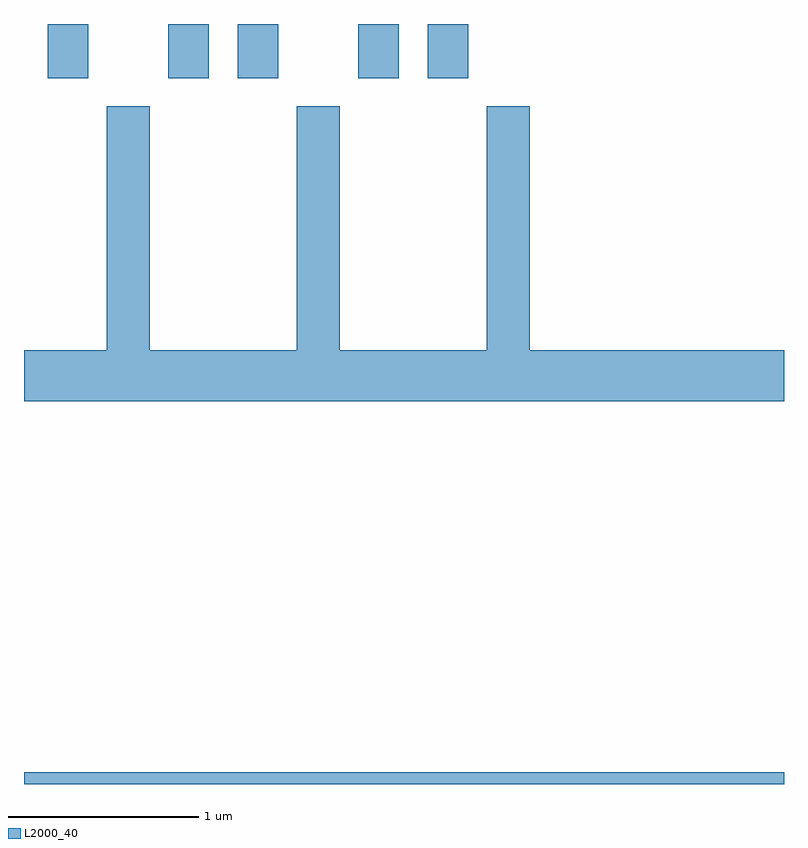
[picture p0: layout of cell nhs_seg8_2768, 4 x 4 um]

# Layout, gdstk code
import gdstk
lib = gdstk.Library(unit=1e-6, precision=1e-09)
def R(c, l, rs):  # rectangles x0, y0, x1, y1
    for r in rs: c.add(gdstk.rectangle(r[:2], r[2:], *l))
def P(c, l, *ps):  # polygons
    for p in ps: c.add(gdstk.Polygon(p, *l))
L2000_40 = (2000, 40)

nhs_seg8_2768 = lib.new_cell('nhs_seg8_2768')
R(nhs_seg8_2768, L2000_40, [(267.611,1894.342,271.611,1894.404), (267.736,1898.056,267.949,1898.342), (268.371,1898.056,268.584,1898.342), (268.736,1898.056,268.949,1898.342), (269.371,1898.056,269.584,1898.342), (269.736,1898.056,269.949,1898.342)])
P(nhs_seg8_2768, L2000_40, [(271.611,1896.624),(270.274,1896.624),(270.274,1897.909),(270.046,1897.909),(270.046,1896.624),(269.274,1896.624),(269.274,1897.909),(269.046,1897.909),(269.046,1896.624),(268.274,1896.624),(268.274,1897.909),(268.046,1897.909),(268.046,1896.624),(267.611,1896.624),(267.611,1896.356),(271.611,1896.356)])

lib.write_gds('nhs_seg8_2768.gds')
